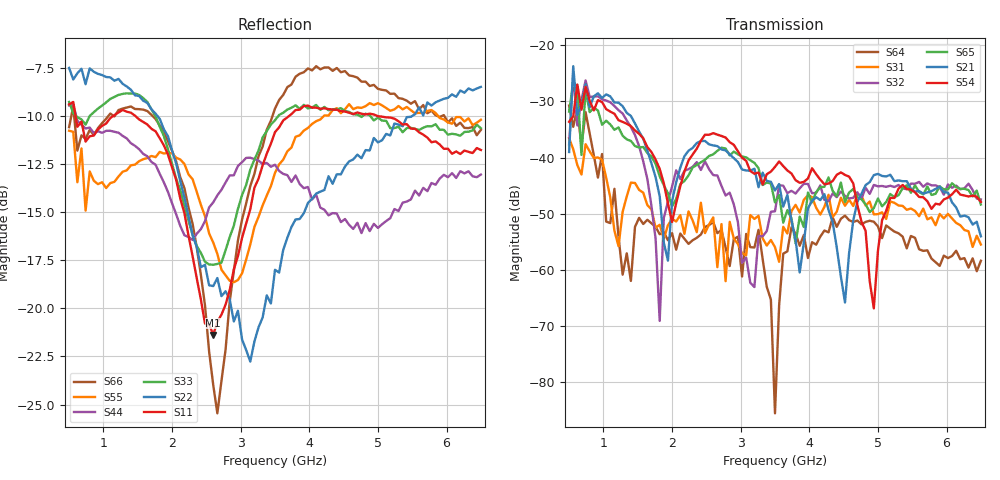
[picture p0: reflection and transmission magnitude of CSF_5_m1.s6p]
!Keysight Technologies,M9804A,MY58100912,A.14.10.03
!Date: Thursday, April 27, 2023 10:28:33
!Correction: S11(C  6-Port  )
!S12(C  6-Port  )
!S13(C  6-Port  )
!S14(C  6-Port  )
!S15(C  6-Port  )
!S16(C  6-Port  )
!S21(C  6-Port  )
!S22(C  6-Port  )
!S23(C  6-Port  )
!S24(C  6-Port  )
!S25(C  6-Port  )
!S26(C  6-Port  )
!S31(C  6-Port  )
!S32(C  6-Port  )
!S33(C  6-Port  )
!S34(C  6-Port  )
!S35(C  6-Port  )
!S36(C  6-Port  )
!S41(C  6-Port  )
!S42(C  6-Port  )
!S43(C  6-Port  )
!S44(C  6-Port  )
!S45(C  6-Port  )
!S46(C  6-Port  )
!S51(C  6-Port  )
!S52(C  6-Port  )
!S53(C  6-Port  )
!S54(C  6-Port  )
!S55(C  6-Port  )
!S56(C  6-Port  )
!S61(C  6-Port  )
!S62(C  6-Port  )
!S63(C  6-Port  )
!S64(C  6-Port  )
!S65(C  6-Port  )
!S66(C  6-Port  )
!S6P File: Measurement: :
# Hz S  RI  R 50
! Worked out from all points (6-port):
!   101 points, 500 MHz to 6.5 GHz, reference 50 ohm
!   strongest paths, dB at 500 MHz, 2 GHz, 3.5 GHz, 5 GHz, 6.5 GHz:
!     S54: -33.6, -51.5, -41.7, -56.6, -47.9
!     S21: -39.0, -47.8, -45.9, -42.9, -54.0
!     S65: -31.8, -48.7, -48.0, -47.3, -48.4
!     S32: -37.7, -45.2, -49.6, -45.1, -47.5
!     S31: -36.6, -50.9, -56.0, -50.1, -55.5
!     S64: -30.7, -53.5, -85.6, -52.3, -58.4
!   lowest |S11| = -21.4 dB at 2.6 GHz (marker M1), VSWR 1.19, Z = 42.4 + j2.28 ohm
!   |S11| at or under -10 dB: 593.2 MHz to 1.148 GHz (554.7 MHz wide, 63.7 % of centre); 1.461 GHz to 3.71 GHz (2.25 GHz wide, 87 % of centre); 4.983 GHz to end of sweep
